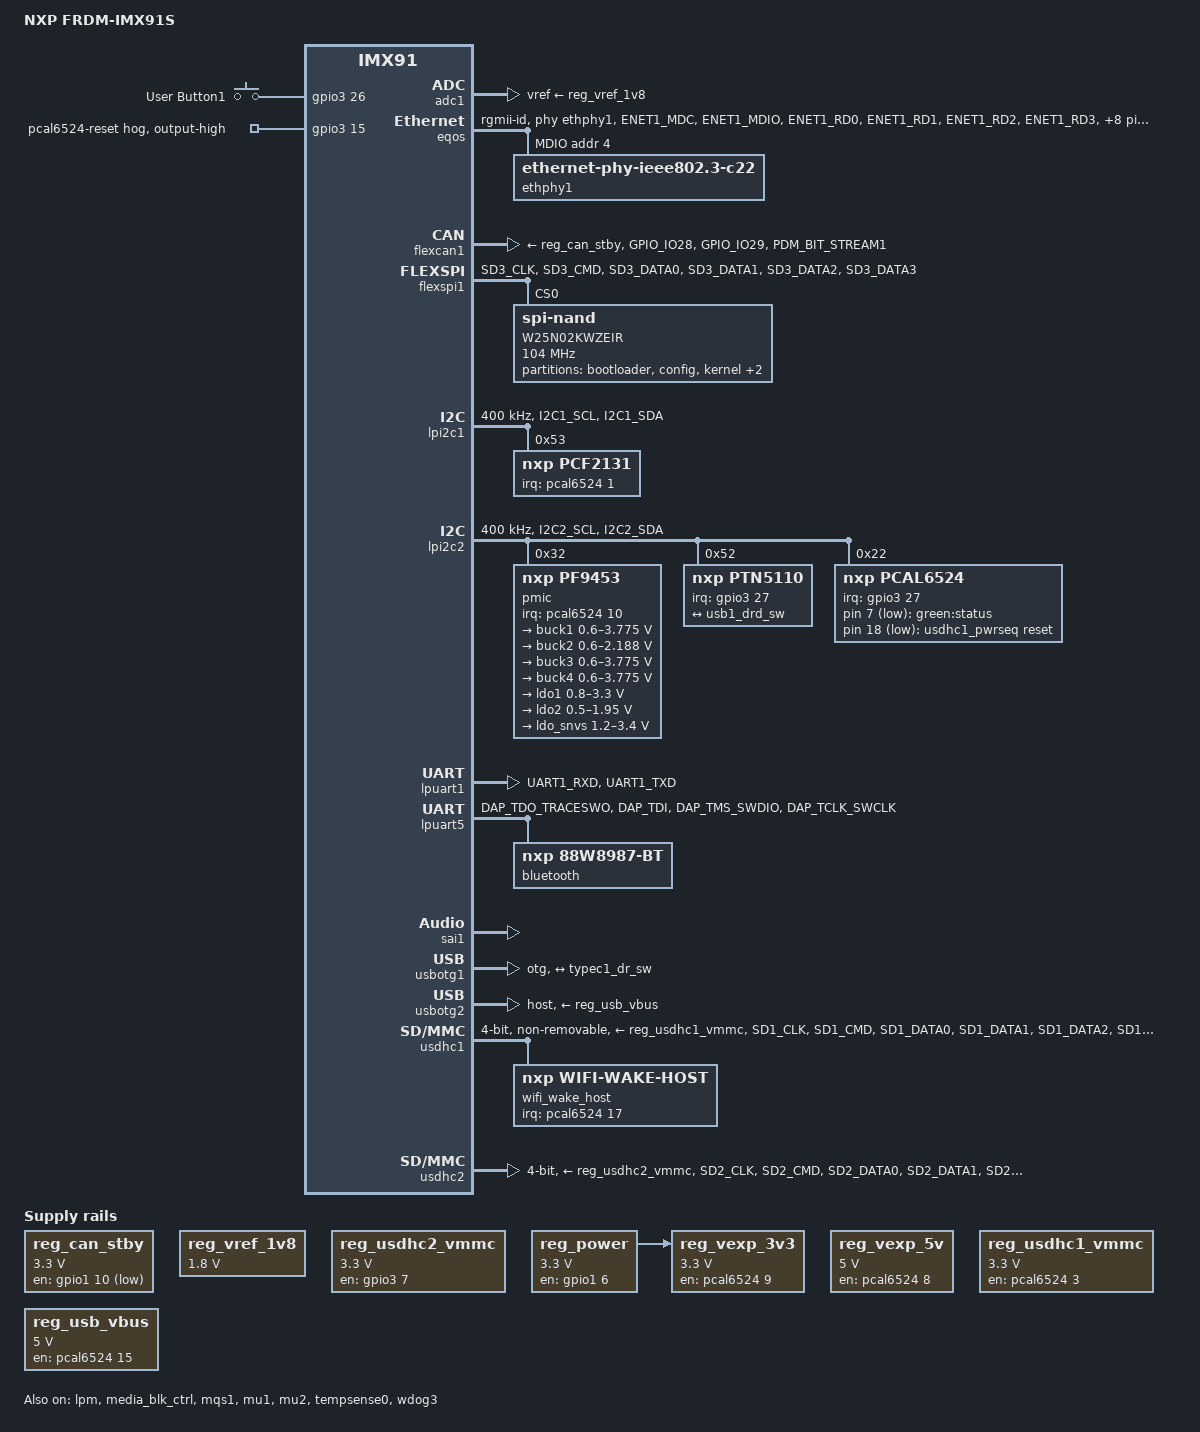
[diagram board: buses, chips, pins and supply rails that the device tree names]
// SPDX-License-Identifier: (GPL-2.0+ OR MIT)
/*
 * Copyright 2025 NXP
 */

/dts-v1/;

#include <dt-bindings/usb/pd.h>
#include "imx91.dtsi"

&ele_fw2 {
	memory-region = <&ele_reserved>;
};

/ {
	model = "NXP FRDM-IMX91S";
	compatible = "fsl,frdm-imx91s", "fsl,imx91";

	chosen {
		stdout-path = &lpuart1;
	};

	gpio-leds {
		compatible = "gpio-leds";
		status {
			label = "green:status";
			gpios = <&pcal6524 7 GPIO_ACTIVE_LOW>;
			default-state = "on";
		};
	};

	reserved-memory {
		#address-cells = <2>;
		#size-cells = <2>;
		ranges;

		linux,cma {
			compatible = "shared-dma-pool";
			reusable;
			alloc-ranges = <0 0x80000000 0 0x20000000>;
			size = <0 0x2000000>;
			linux,cma-default;
		};

		ele_reserved: ele-reserved@84120000 {
			compatible = "shared-dma-pool";
			reg = <0 0x84120000 0 0x100000>;
			no-map;
		};
	};

	reg_can_stby: regulator-can-stby {
		compatible = "regulator-fixed";
		regulator-name = "can-stby";
		regulator-min-microvolt = <3300000>;
		regulator-max-microvolt = <3300000>;
		gpio = <&gpio1 10 GPIO_ACTIVE_LOW>;
		enable-active-low;
	};

	reg_vref_1v8: regulator-adc-vref {
		compatible = "regulator-fixed";
		regulator-name = "vref_1v8";
		regulator-min-microvolt = <1800000>;
		regulator-max-microvolt = <1800000>;
	};

	reg_usdhc2_vmmc: regulator-usdhc2 {
		compatible = "regulator-fixed";
		pinctrl-names = "default";
		pinctrl-0 = <&pinctrl_reg_usdhc2_vmmc>;
		regulator-name = "VSD_3V3";
		regulator-min-microvolt = <3300000>;
		regulator-max-microvolt = <3300000>;
		gpio = <&gpio3 7 GPIO_ACTIVE_HIGH>;
		off-on-delay-us = <12000>;
		enable-active-high;
	};

	reg_power: regulator-power {
		compatible = "regulator-fixed";
		pinctrl-names = "default";
		pinctrl-0 = <&pinctrl_power>;
		regulator-name = "UART2_RXD_3V3";
		regulator-min-microvolt = <3300000>;
		regulator-max-microvolt = <3300000>;
		gpio = <&gpio1 6 GPIO_ACTIVE_HIGH>;
		off-on-delay-us = <12000>;
		enable-active-high;
		regulator-boot-on;
		regulator-always-on;
	};

	reg_vexp_3v3: regulator-vexp-3v3 {
		compatible = "regulator-fixed";
		regulator-name = "EXP_3V3";
		regulator-min-microvolt = <3300000>;
		regulator-max-microvolt = <3300000>;
		gpio = <&pcal6524 9 GPIO_ACTIVE_HIGH>;
		enable-active-high;
		vin-supply = <&reg_power>;
	};

	reg_vexp_5v: regulator-vexp-5v {
		compatible = "regulator-fixed";
		regulator-name = "EXP_5V";
		regulator-min-microvolt = <5000000>;
		regulator-max-microvolt = <5000000>;
		gpio = <&pcal6524 8 GPIO_ACTIVE_HIGH>;
		enable-active-high;
	};

	reg_usdhc1_vmmc: regulator-usdhc1 {
		compatible = "regulator-fixed";
		regulator-name = "WLAN_EN";
		regulator-min-microvolt = <3300000>;
		regulator-max-microvolt = <3300000>;
		gpio = <&pcal6524 3 GPIO_ACTIVE_HIGH>;
		/*
		 * IW612 wifi chip needs more delay than other wifi chips to complete
		 * the host interface initialization after power up, otherwise the
		 * internal state of IW612 may be unstable, resulting in the failure of
		 * the SDIO3.0 switch voltage.
		 */
		startup-delay-us = <20000>;
		enable-active-high;
	};

	reg_usb_vbus: regulator-vbus {
		compatible = "regulator-fixed";
		regulator-name = "USB_VBUS";
		regulator-min-microvolt = <5000000>;
		regulator-max-microvolt = <5000000>;
		gpio = <&pcal6524 15 GPIO_ACTIVE_HIGH>;
		enable-active-high;
	};

	sw-keys {
		compatible = "gpio-keys";
		pinctrl-names = "default";
		pinctrl-0 = <&pinctrl_key>;

		K1: user_btn1 {
			label = "User Button1";
			linux,code = <BTN_1>;
			gpios = <&gpio3 26 GPIO_PULL_UP>;
			interrupt-parent = <&gpio3>;
			interrupts = <26 IRQ_TYPE_EDGE_FALLING>;
		};
	};

	sound-mqs {
		compatible = "fsl,imx6sx-sdb-mqs",
			     "fsl,imx-audio-mqs";
		model = "mqs-audio";
		audio-cpu = <&sai1>;
		audio-codec = <&mqs1>;
	};

	usdhc1_pwrseq: usdhc1_pwrseq {
		compatible = "mmc-pwrseq-simple";
		reset-gpios = <&pcal6524 18 GPIO_ACTIVE_LOW>;
	};
};

&adc1 {
	vref-supply = <&reg_vref_1v8>;
	status = "okay";
};

&eqos {
	pinctrl-names = "default", "sleep";
	pinctrl-0 = <&pinctrl_eqos>;
	pinctrl-1 = <&pinctrl_eqos_sleep>;
	phy-mode = "rgmii-id";
	phy-handle = <&ethphy1>;
	status = "okay";

	mdio {
		compatible = "snps,dwmac-mdio";
		#address-cells = <1>;
		#size-cells = <0>;
		clock-frequency = <5000000>;

		ethphy1: ethernet-phy@4 {
			compatible = "ethernet-phy-ieee802.3-c22";
			reg = <4>;
		};
	};
};

&flexcan1 {
	pinctrl-names = "default", "sleep";
	pinctrl-0 = <&pinctrl_flexcan1>;
	pinctrl-1 = <&pinctrl_flexcan1_sleep>;
	xceiver-supply = <&reg_can_stby>;
	status = "okay";
};

&flexspi1 {
	pinctrl-names = "default";
	pinctrl-0 = <&pinctrl_flexspi1>;
	status = "okay";

	W25N02KWZEIR: flash@0 {
		compatible = "spi-nand";
		#address-cells = <1>;
		#size-cells = <1>;
		reg = <0>;
		spi-max-frequency = <104000000>;
		spi-tx-bus-width = <4>;
		spi-rx-bus-width = <4>;

		partitions {
			compatible = "fixed-partitions";
			#address-cells = <1>;
			#size-cells = <1>;

			partition@0 {
				label = "bootloader";
				reg = <0x000000 0x800000>; // 8MB
				read-only;
			};

			partition@1 {
				label = "config";
				reg = <0x800000 0x800000>; //8MB
			};

			partition@2 {
				label = "kernel";
				reg = <0x1000000 0x2800000>; //40MB
			};

			partition@3 {
				label = "dtb";
				reg = <0x3800000 0x20000>; //128K
			};

			partition@4 {
				label = "rootfs";
				reg = <0x3820000 0xFFFFFFFF>;
				linux,rootfs;
			};
		};
	};
};

&gpio3 {
	pcal6524-reset {
		gpio-hog;
		gpios = <15 GPIO_ACTIVE_HIGH>;
		output-high;
	};
};

&lpi2c1 {
	clock-frequency = <400000>;
	pinctrl-names = "default";
	pinctrl-0 = <&pinctrl_lpi2c1>;
	status = "okay";

	pcf2131: rtc@53 {
		compatible = "nxp,pcf2131";
		reg = <0x53>;
		interrupt-parent = <&pcal6524>;
		interrupts = <1 IRQ_TYPE_EDGE_FALLING>;
	};
};

&lpi2c2 {
	clock-frequency = <400000>;
	pinctrl-names = "default";
	pinctrl-0 = <&pinctrl_lpi2c2>;
	status = "okay";

	pmic@32 {
		compatible = "nxp,pf9453";
		reg = <0x32>;
		interrupt-parent = <&pcal6524>;
		interrupts = <10 IRQ_TYPE_EDGE_FALLING>;

		regulators {
			buck1: BUCK1 {
				regulator-name = "BUCK1";
				regulator-min-microvolt = <600000>;
				regulator-max-microvolt = <3775000>;
				regulator-boot-on;
				regulator-always-on;
			};

			buck2: BUCK2 {
				regulator-name = "BUCK2";
				regulator-min-microvolt = <600000>;
				regulator-max-microvolt = <2187500>;
				regulator-boot-on;
				regulator-always-on;
				regulator-ramp-delay = <12500>;
			};

			buck3: BUCK3 {
				regulator-name = "BUCK3";
				regulator-min-microvolt = <600000>;
				regulator-max-microvolt = <3775000>;
				regulator-boot-on;
				regulator-always-on;
			};

			buck4: BUCK4 {
				regulator-name = "BUCK4";
				regulator-min-microvolt = <600000>;
				regulator-max-microvolt = <3775000>;
				regulator-boot-on;
				regulator-always-on;
			};

			ldo1: LDO1 {
				regulator-name = "LDO1";
				regulator-min-microvolt = <800000>;
				regulator-max-microvolt = <3300000>;
				regulator-boot-on;
				regulator-always-on;
			};

			ldo2: LDO2 {
				regulator-name = "LDO2";
				regulator-min-microvolt = <500000>;
				regulator-max-microvolt = <1950000>;
				regulator-boot-on;
				regulator-always-on;
			};

			ldo_snvs: LDO_SNVS {
				regulator-name = "LDO_SNVS";
				regulator-min-microvolt = <1200000>;
				regulator-max-microvolt = <3400000>;
				regulator-boot-on;
				regulator-always-on;
			};
		};
	};

	ptn5110: tcpc@52 {
		compatible = "nxp,ptn5110";
		reg = <0x52>;
		interrupt-parent = <&gpio3>;
		interrupts = <27 IRQ_TYPE_LEVEL_LOW>;

		port {
			typec1_dr_sw: endpoint {
				remote-endpoint = <&usb1_drd_sw>;
			};
		};

		typec1_con: connector {
			compatible = "usb-c-connector";
			label = "USB-C";
			power-role = "dual";
			data-role = "dual";
			try-power-role = "sink";
			source-pdos = <PDO_FIXED(5000, 3000, PDO_FIXED_USB_COMM)>;
			sink-pdos = <PDO_FIXED(5000, 3000, PDO_FIXED_USB_COMM)
				     PDO_VAR(5000, 20000, 3000)>;
			op-sink-microwatt = <15000000>;
			self-powered;
		};
	};

	pcal6524: gpio@22 {
		compatible = "nxp,pcal6524";
		pinctrl-names = "default";
		pinctrl-0 = <&pinctrl_pcal6524>;
		reg = <0x22>;
		gpio-controller;
		#gpio-cells = <2>;
		interrupt-controller;
		#interrupt-cells = <2>;
		interrupt-parent = <&gpio3>;
		interrupts = <27 IRQ_TYPE_LEVEL_LOW>;

		config-0-hog {
			gpio-hog;
			gpios = <4 GPIO_ACTIVE_HIGH>;
			output-high;
		};

		config-1-hog {
			gpio-hog;
			gpios = <5 GPIO_ACTIVE_HIGH>;
			output-high;
		};
	};
};

&lpm {
	soc-supply = <&buck1>;
	status = "okay";
};

&lpuart1 { /* console */
	pinctrl-names = "default";
	pinctrl-0 = <&pinctrl_uart1>;
	status = "okay";
};

&lpuart5 {
	/* BT */
	pinctrl-names = "default";
	pinctrl-0 = <&pinctrl_uart5>;
	status = "okay";

	bluetooth {
		compatible = "nxp,88w8987-bt";
	};
};

&media_blk_ctrl {
	status = "okay";
};

&mqs1 {
	pinctrl-names = "default";
	pinctrl-0 = <&pinctrl_mqs1>;
	clocks = <&clk IMX91_CLK_MQS1_GATE>;
	clock-names = "mclk";
	status = "okay";
};

&mu1 {
	status = "okay";
};

&mu2 {
	status = "okay";
};

&sai1 {
	#sound-dai-cells = <0>;
	clocks = <&clk IMX91_CLK_SAI1_IPG>, <&clk IMX91_CLK_DUMMY>,
		 <&clk IMX91_CLK_SAI1_GATE>, <&clk IMX91_CLK_DUMMY>,
		 <&clk IMX91_CLK_DUMMY>, <&clk IMX91_CLK_AUDIO_PLL>;
	clock-names = "bus", "mclk0", "mclk1", "mclk2", "mclk3", "pll8k";
	assigned-clocks = <&clk IMX91_CLK_SAI1>;
	assigned-clock-parents = <&clk IMX91_CLK_AUDIO_PLL>;
	assigned-clock-rates = <24576000>;
	fsl,sai-mclk-direction-output;
	status = "okay";
};

&tempsense0 {
	status = "okay";
};

&usbotg1 {
	dr_mode = "otg";
	hnp-disable;
	srp-disable;
	adp-disable;
	usb-role-switch;
	disable-over-current;
	samsung,picophy-pre-emp-curr-control = <3>;
	samsung,picophy-dc-vol-level-adjust = <7>;
	status = "okay";

	port {
		usb1_drd_sw: endpoint {
			remote-endpoint = <&typec1_dr_sw>;
		};
	};
};

&usbotg2 {
	dr_mode = "host";
	vbus-supply = <&reg_usb_vbus>;
	disable-over-current;
	samsung,picophy-pre-emp-curr-control = <3>;
	samsung,picophy-dc-vol-level-adjust = <7>;
	status = "okay";
};

&usdhc1 {
	pinctrl-names = "default", "state_100mhz", "state_200mhz";
	pinctrl-0 = <&pinctrl_usdhc1>;
	pinctrl-1 = <&pinctrl_usdhc1_100mhz>;
	pinctrl-2 = <&pinctrl_usdhc1_200mhz>;
	mmc-pwrseq = <&usdhc1_pwrseq>;
	vmmc-supply = <&reg_usdhc1_vmmc>;
	bus-width = <4>;
	keep-power-in-suspend;
	non-removable;
	wakeup-source;
	status = "okay";

	wifi_wake_host {
		compatible = "nxp,wifi-wake-host";
		interrupt-parent = <&pcal6524>;
		interrupts = <17 IRQ_TYPE_EDGE_FALLING>;
		interrupt-names = "host-wake";
	};
};

&usdhc2 {
	pinctrl-names = "default", "state_100mhz", "state_200mhz", "sleep";
	pinctrl-0 = <&pinctrl_usdhc2>, <&pinctrl_usdhc2_gpio>;
	pinctrl-1 = <&pinctrl_usdhc2_100mhz>, <&pinctrl_usdhc2_gpio>;
	pinctrl-2 = <&pinctrl_usdhc2_200mhz>, <&pinctrl_usdhc2_gpio>;
	pinctrl-3 = <&pinctrl_usdhc2_sleep>, <&pinctrl_usdhc2_gpio_sleep>;
	cd-gpios = <&gpio3 00 GPIO_ACTIVE_LOW>;
	fsl,cd-gpio-wakeup-disable;
	vmmc-supply = <&reg_usdhc2_vmmc>;
	bus-width = <4>;
	no-sdio;
	no-mmc;
	status = "okay";
};

&wdog3 {
	pinctrl-names = "default";
	pinctrl-0 = <&pinctrl_wdog>;
	fsl,ext-reset-output;
	status = "okay";
};

&iomuxc {
	pinctrl_mqs1: mqs1grp {
		fsl,pins = <
			MX91_PAD_PDM_CLK__MQS1_LEFT			0x31e
			MX91_PAD_PDM_BIT_STREAM0__MQS1_RIGHT		0x31e
		>;
	};

	pinctrl_flexspi1: flexspi1grp {
		fsl,pins = <
			MX91_PAD_SD3_CLK__FLEXSPI1_A_SCLK	0x3fe
			MX91_PAD_SD3_CMD__FLEXSPI1_A_SS0_B	0x3fe
			MX91_PAD_SD3_DATA0__FLEXSPI1_A_DATA0	0x3fe
			MX91_PAD_SD3_DATA1__FLEXSPI1_A_DATA1	0x3fe
			MX91_PAD_SD3_DATA2__FLEXSPI1_A_DATA2	0x3fe
			MX91_PAD_SD3_DATA3__FLEXSPI1_A_DATA3	0x3fe
		>;
	};

	pinctrl_key: key {
		fsl,pins = <
			MX91_PAD_CCM_CLKO1__GPIO3_IO26             0x0000031E
		>;
	};

	pinctrl_power: power {
		fsl,pins = <
			MX91_PAD_UART2_RXD__GPIO1_IO6              0x0000051E
		>;
	};

	pinctrl_eqos: eqosgrp {
		fsl,pins = <
			MX91_PAD_ENET1_MDC__ENET1_MDC				0x57e
			MX91_PAD_ENET1_MDIO__ENET_QOS_MDIO			0x57e
			MX91_PAD_ENET1_RD0__ENET_QOS_RGMII_RD0			0x57e
			MX91_PAD_ENET1_RD1__ENET_QOS_RGMII_RD1			0x57e
			MX91_PAD_ENET1_RD2__ENET_QOS_RGMII_RD2			0x57e
			MX91_PAD_ENET1_RD3__ENET_QOS_RGMII_RD3			0x57e
			MX91_PAD_ENET1_RXC__ENET_QOS_RGMII_RXC			0x5fe
			MX91_PAD_ENET1_RX_CTL__ENET_QOS_RGMII_RX_CTL		0x57e
			MX91_PAD_ENET1_TD0__ENET_QOS_RGMII_TD0			0x57e
			MX91_PAD_ENET1_TD1__ENET1_RGMII_TD1			0x57e
			MX91_PAD_ENET1_TD2__ENET_QOS_RGMII_TD2			0x57e
			MX91_PAD_ENET1_TD3__ENET_QOS_RGMII_TD3			0x57e
			MX91_PAD_ENET1_TXC__CCM_ENET_QOS_CLOCK_GENERATE_TX_CLK	0x5fe
			MX91_PAD_ENET1_TX_CTL__ENET_QOS_RGMII_TX_CTL		0x57e
		>;
	};

	pinctrl_eqos_sleep: eqosgrpsleep {
		fsl,pins = <
			MX91_PAD_ENET1_MDC__GPIO4_IO0				0x31e
			MX91_PAD_ENET1_MDIO__GPIO4_IO1				0x31e
			MX91_PAD_ENET1_RD0__GPIO4_IO10				0x31e
			MX91_PAD_ENET1_RD1__GPIO4_IO11				0x31e
			MX91_PAD_ENET1_RD2__GPIO4_IO12				0x31e
			MX91_PAD_ENET1_RD3__GPIO4_IO13				0x31e
			MX91_PAD_ENET1_RXC__GPIO4_IO9				0x31e
			MX91_PAD_ENET1_RX_CTL__GPIO4_IO8			0x31e
			MX91_PAD_ENET1_TD0__GPIO4_IO5				0x31e
			MX91_PAD_ENET1_TD1__GPIO4_IO4				0x31e
			MX91_PAD_ENET1_TD2__GPIO4_IO3				0x31e
			MX91_PAD_ENET1_TD3__GPIO4_IO2				0x31e
			MX91_PAD_ENET1_TXC__GPIO4_IO7				0x31e
			MX91_PAD_ENET1_TX_CTL__GPIO4_IO6			0x31e
		>;
	};

	pinctrl_flexcan1: flexcan1grp {
		fsl,pins = <
			MX91_PAD_GPIO_IO28__CAN1_TX			0x139e
			MX91_PAD_GPIO_IO29__CAN1_RX			0x139e
			MX91_PAD_PDM_BIT_STREAM1__GPIO1_IO10		0x31e
		>;
	};

	pinctrl_flexcan1_sleep: flexcan1sleepgrp {
		fsl,pins = <
			MX91_PAD_GPIO_IO28__GPIO2_IO28			0x31e
			MX91_PAD_GPIO_IO29__GPIO2_IO29			0x31e
			MX91_PAD_PDM_BIT_STREAM1__GPIO1_IO10		0x31e
		>;
	};

	pinctrl_lpi2c1: lpi2c1grp {
		fsl,pins = <
			MX91_PAD_I2C1_SCL__LPI2C1_SCL			0x40000b9e
			MX91_PAD_I2C1_SDA__LPI2C1_SDA			0x40000b9e
		>;
	};

	pinctrl_lpi2c2: lpi2c2grp {
		fsl,pins = <
			MX91_PAD_I2C2_SCL__LPI2C2_SCL			0x40000b9e
			MX91_PAD_I2C2_SDA__LPI2C2_SDA			0x40000b9e
		>;
	};

	pinctrl_pcal6524: pcal6524grp {
		fsl,pins = <
			MX91_PAD_CCM_CLKO2__GPIO3_IO27			0x31e
			MX91_PAD_SD1_DATA5__GPIO3_IO15			0x31e
		>;
	};

	pinctrl_uart1: uart1grp {
		fsl,pins = <
			MX91_PAD_UART1_RXD__LPUART1_RX			0x31e
			MX91_PAD_UART1_TXD__LPUART1_TX			0x31e
		>;
	};

	pinctrl_uart5: uart5grp {
		fsl,pins = <
			MX91_PAD_DAP_TDO_TRACESWO__LPUART5_TX	0x31e
			MX91_PAD_DAP_TDI__LPUART5_RX		0x31e
			MX91_PAD_DAP_TMS_SWDIO__LPUART5_RTS_B	0x31e
			MX91_PAD_DAP_TCLK_SWCLK__LPUART5_CTS_B	0x31e
		>;
	};

	pinctrl_usdhc1: usdhc1grp {
		fsl,pins = <
			MX91_PAD_SD1_CLK__USDHC1_CLK		0x1582
			MX91_PAD_SD1_CMD__USDHC1_CMD		0x1382
			MX91_PAD_SD1_DATA0__USDHC1_DATA0	0x1382
			MX91_PAD_SD1_DATA1__USDHC1_DATA1	0x1382
			MX91_PAD_SD1_DATA2__USDHC1_DATA2	0x1382
			MX91_PAD_SD1_DATA3__USDHC1_DATA3	0x1382
			MX91_PAD_SD1_DATA4__GPIO3_IO14		0x031E
			MX91_PAD_SD1_STROBE__GPIO3_IO18		0x031E
		>;
	};

	pinctrl_usdhc1_100mhz: usdhc1-100mhzgrp {
		fsl,pins = <
			MX91_PAD_SD1_CLK__USDHC1_CLK		0x158e
			MX91_PAD_SD1_CMD__USDHC1_CMD		0x138e
			MX91_PAD_SD1_DATA0__USDHC1_DATA0	0x138e
			MX91_PAD_SD1_DATA1__USDHC1_DATA1	0x138e
			MX91_PAD_SD1_DATA2__USDHC1_DATA2	0x138e
			MX91_PAD_SD1_DATA3__USDHC1_DATA3	0x138e
			MX91_PAD_SD1_DATA4__GPIO3_IO14		0x031E
			MX91_PAD_SD1_STROBE__GPIO3_IO18		0x031E
		>;
	};

	pinctrl_usdhc1_200mhz: usdhc1-200mhzgrp {
		fsl,pins = <
			MX91_PAD_SD1_CLK__USDHC1_CLK		0x15fe
			MX91_PAD_SD1_CMD__USDHC1_CMD		0x13fe
			MX91_PAD_SD1_DATA0__USDHC1_DATA0	0x13fe
			MX91_PAD_SD1_DATA1__USDHC1_DATA1	0x13fe
			MX91_PAD_SD1_DATA2__USDHC1_DATA2	0x13fe
			MX91_PAD_SD1_DATA3__USDHC1_DATA3	0x13fe
			MX91_PAD_SD1_DATA4__GPIO3_IO14		0x031E
			MX91_PAD_SD1_STROBE__GPIO3_IO18		0x031E
		>;
	};

	pinctrl_reg_usdhc2_vmmc: regusdhc2vmmcgrp {
		fsl,pins = <
			MX91_PAD_SD2_RESET_B__GPIO3_IO7	0x31e
		>;
	};

	pinctrl_usdhc2_gpio: usdhc2gpiogrp {
		fsl,pins = <
			MX91_PAD_SD2_CD_B__GPIO3_IO0		0x31e
		>;
	};

	pinctrl_usdhc2_gpio_sleep: usdhc2gpiogrpsleep {
		fsl,pins = <
			MX91_PAD_SD2_CD_B__GPIO3_IO0		0x51e
		>;
	};

	pinctrl_usdhc2: usdhc2grp {
		fsl,pins = <
			MX91_PAD_SD2_CLK__USDHC2_CLK		0x1582
			MX91_PAD_SD2_CMD__USDHC2_CMD		0x1382
			MX91_PAD_SD2_DATA0__USDHC2_DATA0	0x1382
			MX91_PAD_SD2_DATA1__USDHC2_DATA1	0x1382
			MX91_PAD_SD2_DATA2__USDHC2_DATA2	0x1382
			MX91_PAD_SD2_DATA3__USDHC2_DATA3	0x1382
			MX91_PAD_SD2_VSELECT__USDHC2_VSELECT	0x51e
		>;
	};

	pinctrl_usdhc2_100mhz: usdhc2-100mhzgrp {
		fsl,pins = <
			MX91_PAD_SD2_CLK__USDHC2_CLK		0x158e
			MX91_PAD_SD2_CMD__USDHC2_CMD		0x138e
			MX91_PAD_SD2_DATA0__USDHC2_DATA0	0x138e
			MX91_PAD_SD2_DATA1__USDHC2_DATA1	0x138e
			MX91_PAD_SD2_DATA2__USDHC2_DATA2	0x138e
			MX91_PAD_SD2_DATA3__USDHC2_DATA3	0x138e
			MX91_PAD_SD2_VSELECT__USDHC2_VSELECT	0x51e
		>;
	};

	pinctrl_usdhc2_200mhz: usdhc2-200mhzgrp {
		fsl,pins = <
			MX91_PAD_SD2_CLK__USDHC2_CLK		0x15fe
			MX91_PAD_SD2_CMD__USDHC2_CMD		0x13fe
			MX91_PAD_SD2_DATA0__USDHC2_DATA0	0x13fe
			MX91_PAD_SD2_DATA1__USDHC2_DATA1	0x13fe
			MX91_PAD_SD2_DATA2__USDHC2_DATA2	0x13fe
			MX91_PAD_SD2_DATA3__USDHC2_DATA3	0x13fe
			MX91_PAD_SD2_VSELECT__USDHC2_VSELECT	0x51e
		>;
	};

	pinctrl_usdhc2_sleep: usdhc2grpsleep {
		fsl,pins = <
			MX91_PAD_SD2_CLK__GPIO3_IO1            0x51e
			MX91_PAD_SD2_CMD__GPIO3_IO2		0x51e
			MX91_PAD_SD2_DATA0__GPIO3_IO3		0x51e
			MX91_PAD_SD2_DATA1__GPIO3_IO4		0x51e
			MX91_PAD_SD2_DATA2__GPIO3_IO5		0x51e
			MX91_PAD_SD2_DATA3__GPIO3_IO6		0x51e
			MX91_PAD_SD2_VSELECT__GPIO3_IO19	0x51e
		>;
	};

	pinctrl_wdog: wdoggrp {
		fsl,pins = <
			MX91_PAD_WDOG_ANY__WDOG1_WDOG_ANY       0x31e
		>;
	};
};
